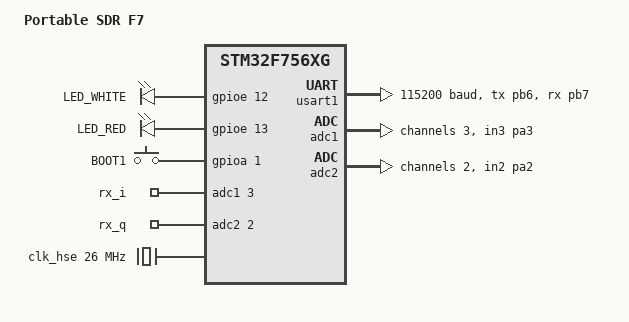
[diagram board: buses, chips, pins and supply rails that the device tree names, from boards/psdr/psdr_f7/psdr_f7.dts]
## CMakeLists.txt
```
cmake_minimum_required(VERSION 3.20.0)

list(APPEND BOARD_ROOT ${CMAKE_CURRENT_SOURCE_DIR})

find_package(Zephyr)
project(psdr_f7)

target_sources(app PRIVATE
	src/main.c
	src/dsp.c
)
```

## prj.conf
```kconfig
CONFIG_GPIO=y
CONFIG_ADC=y

CONFIG_PRINTK=y
CONFIG_BOOT_BANNER=y

# DSP thread needs a usable stack and the float unit
CONFIG_MAIN_STACK_SIZE=8192
CONFIG_FPU=y
CONFIG_CBPRINTF_FP_SUPPORT=y

# CMSIS-DSP: forward/inverse FFT, complex magnitude, sqrt/sin/cos
CONFIG_CMSIS_DSP=y
CONFIG_CMSIS_DSP_TRANSFORM=y
CONFIG_CMSIS_DSP_COMPLEXMATH=y
CONFIG_CMSIS_DSP_FASTMATH=y
```

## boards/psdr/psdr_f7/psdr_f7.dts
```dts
/*
 * Portable SDR F7 — Michael R. Colton design, STM32F756VGTx, LQFP100.
 * HSE 26 MHz on PH0/PH1, PLL → SYSCLK 216 MHz.
 *
 * Pin labels follow the original Hardware/STM32F756_Config.ioc.
 * Phase 1 brings up: console UART + status LEDs. Display, ADC, DAC,
 * I2C, SPI, timers all come later.
 */

/dts-v1/;
#include <st/f7/stm32f756Xg.dtsi>
#include <st/f7/stm32f756vgtx-pinctrl.dtsi>
#include <zephyr/dt-bindings/adc/adc.h>
#include <zephyr/dt-bindings/input/input-event-codes.h>

/ {
	model = "Portable SDR F7";
	compatible = "psdr,psdr-f7";

	chosen {
		zephyr,console = &usart1;
		zephyr,shell-uart = &usart1;
		zephyr,sram = &sram0;
		zephyr,flash = &flash0;
		zephyr,dtcm = &dtcm;
	};

	leds: leds {
		compatible = "gpio-leds";

		white_led: led_white {
			gpios = <&gpioe 12 GPIO_ACTIVE_HIGH>;
			label = "LED_WHITE";
		};

		red_led: led_red {
			gpios = <&gpioe 13 GPIO_ACTIVE_HIGH>;
			label = "LED_RED";
		};
	};

	gpio_keys {
		compatible = "gpio-keys";

		boot1_pin: boot1 {
			gpios = <&gpioa 1 GPIO_ACTIVE_HIGH>;
			label = "BOOT1";
			zephyr,code = <INPUT_KEY_0>;
		};
	};

	aliases {
		led0 = &white_led;
		led1 = &red_led;
		sw0 = &boot1_pin;
	};

	/*
	 * App-facing handle on the RX I/Q channels. Refer to these via
	 * ADC_DT_SPEC_GET_BY_IDX(DT_PATH(zephyr_user), 0) for I and 1 for Q.
	 */
	zephyr,user {
		io-channels = <&adc1 3>, <&adc2 2>;
		io-channel-names = "rx_i", "rx_q";
	};
};

&clk_hse {
	clock-frequency = <DT_FREQ_M(26)>;
	status = "okay";
};

&pll {
	div-m = <13>;
	mul-n = <216>;
	div-p = <2>;
	div-q = <9>;
	clocks = <&clk_hse>;
	status = "okay";
};

&rcc {
	clocks = <&pll>;
	clock-frequency = <DT_FREQ_M(216)>;
	ahb-prescaler = <1>;
	apb1-prescaler = <4>;
	apb2-prescaler = <2>;
};

&usart1 {
	pinctrl-0 = <&usart1_tx_pb6 &usart1_rx_pb7>;
	pinctrl-names = "default";
	current-speed = <115200>;
	status = "okay";
};

/*
 * RX I/Q: Tayloe detector outputs land on PA3 (I) and PA2 (Q).
 * Hardware-correct mapping is ADC1_IN3 + ADC2_IN2. The original
 * firmware used ADC3 for Q which is a silent bug — PA2 is not
 * routed to ADC3 on the F756.
 */
&adc1 {
	pinctrl-0 = <&adc1_in3_pa3>;
	pinctrl-names = "default";
	st,adc-prescaler = <4>;
	status = "okay";
	#address-cells = <1>;
	#size-cells = <0>;

	channel@3 {
		reg = <3>;
		zephyr,gain = "ADC_GAIN_1";
		zephyr,reference = "ADC_REF_INTERNAL";
		zephyr,acquisition-time = <ADC_ACQ_TIME(ADC_ACQ_TIME_TICKS, 15)>;
		zephyr,resolution = <12>;
	};
};

&adc2 {
	pinctrl-0 = <&adc2_in2_pa2>;
	pinctrl-names = "default";
	st,adc-prescaler = <4>;
	status = "okay";
	#address-cells = <1>;
	#size-cells = <0>;

	channel@2 {
		reg = <2>;
		zephyr,gain = "ADC_GAIN_1";
		zephyr,reference = "ADC_REF_INTERNAL";
		zephyr,acquisition-time = <ADC_ACQ_TIME(ADC_ACQ_TIME_TICKS, 15)>;
		zephyr,resolution = <12>;
	};
};
```

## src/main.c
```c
/*
 * PSDR-F7 Phase 2 / Tier 1: free-running I/Q sampler with UART telemetry.
 *
 * Reads ADC1 (RX_I, PA3) and ADC2 (RX_Q, PA2) as fast as the Zephyr
 * async ADC API will let us, accumulates a windowed RMS on each
 * channel, prints a one-line telemetry summary every 500 ms.
 *
 * No DMA, no hardware timer trigger yet — this is just to prove the
 * channels are alive and the maths is sane. Hook a signal generator
 * to RX_I or RX_Q and you should see RMS track its amplitude.
 */

#include <math.h>
#include <stdint.h>

#include <zephyr/kernel.h>
#include <zephyr/drivers/adc.h>
#include <zephyr/drivers/gpio.h>

#include "dsp.h"

#define LED0_NODE DT_ALIAS(led0)
static const struct gpio_dt_spec led0 = GPIO_DT_SPEC_GET(LED0_NODE, gpios);

#define ZUSER DT_PATH(zephyr_user)

static const struct adc_dt_spec rx_i = ADC_DT_SPEC_GET_BY_IDX(ZUSER, 0);
static const struct adc_dt_spec rx_q = ADC_DT_SPEC_GET_BY_IDX(ZUSER, 1);

/* Centre count for 12-bit ADC reading 0..3.3V referenced to ~VCC/2. */
#define ADC_MID 2048

/* Telemetry window — at e.g. 50 kSPS this is 25 ksamples per print. */
#define TELEMETRY_PERIOD_MS 500

struct chan_stats {
	uint64_t sumsq;	/* signed-sample squared, accumulated */
	int32_t peak;	/* max |signed sample| within window */
	uint32_t count;	/* samples in this window */
};

static void chan_reset(struct chan_stats *s)
{
	s->sumsq = 0;
	s->peak = 0;
	s->count = 0;
}

static inline void chan_push(struct chan_stats *s, int32_t signed_sample)
{
	int32_t a = signed_sample < 0 ? -signed_sample : signed_sample;
	if (a > s->peak) {
		s->peak = a;
	}
	s->sumsq += (uint64_t)((int64_t)signed_sample * signed_sample);
	s->count++;
}

static float chan_rms(const struct chan_stats *s)
{
	if (s->count == 0) {
		return 0.0f;
	}
	return sqrtf((float)s->sumsq / (float)s->count);
}

static int read_one(const struct adc_dt_spec *spec, int16_t *raw)
{
	struct adc_sequence seq = {
		.buffer = raw,
		.buffer_size = sizeof(*raw),
		.resolution = spec->resolution,
		.channels = BIT(spec->channel_id),
	};

	return adc_read(spec->dev, &seq);
}

int main(void)
{
	int err;

	if (!gpio_is_ready_dt(&led0)) {
		printk("led0 not ready\n");
		return 0;
	}
	gpio_pin_configure_dt(&led0, GPIO_OUTPUT_INACTIVE);

	if (!adc_is_ready_dt(&rx_i) || !adc_is_ready_dt(&rx_q)) {
		printk("adc not ready (i=%d q=%d)\n",
		       adc_is_ready_dt(&rx_i), adc_is_ready_dt(&rx_q));
		return 0;
	}

	err = adc_channel_setup_dt(&rx_i);
	if (err) {
		printk("adc_i setup failed: %d\n", err);
		return 0;
	}
	err = adc_channel_setup_dt(&rx_q);
	if (err) {
		printk("adc_q setup failed: %d\n", err);
		return 0;
	}

	printk("PSDR-F7 Phase 2/3 — free-running I/Q sampler + DSP self-test\n");
	printk("RX_I = ADC1 ch%u (PA3), RX_Q = ADC2 ch%u (PA2)\n",
	       rx_i.channel_id, rx_q.channel_id);
	printk("sysclk = %u Hz, telemetry every %u ms\n",
	       sys_clock_hw_cycles_per_sec(), TELEMETRY_PERIOD_MS);

	psdr_dsp_init();
	psdr_dsp_set_filter(40, PSDR_SIDEBAND_USB, 8);

	uint32_t t0 = k_cycle_get_32();
	float self_test_rms = psdr_dsp_self_test();
	uint32_t dt_cyc = k_cycle_get_32() - t0;
	uint32_t dt_us = (uint32_t)k_cyc_to_us_floor64(dt_cyc);
	printk("DSP self-test: impulse->iFFT RMS=%.4f (took %u us)\n",
	       (double)self_test_rms, dt_us);

	struct chan_stats si, sq;
	chan_reset(&si);
	chan_reset(&sq);

	int64_t window_start = k_uptime_get();
	uint32_t adc_err = 0;

	while (1) {
		int16_t raw_i = 0, raw_q = 0;

		err = read_one(&rx_i, &raw_i);
		if (err) {
			adc_err++;
		} else {
			chan_push(&si, (int32_t)raw_i - ADC_MID);
		}

		err = read_one(&rx_q, &raw_q);
		if (err) {
			adc_err++;
		} else {
			chan_push(&sq, (int32_t)raw_q - ADC_MID);
		}

		int64_t now = k_uptime_get();
		if (now - window_start >= TELEMETRY_PERIOD_MS) {
			uint32_t elapsed_ms = (uint32_t)(now - window_start);
			uint32_t rate_hz = elapsed_ms ?
				(uint32_t)((uint64_t)si.count * 1000U / elapsed_ms) : 0;

			printk("[%lld] rate=%uHz  I rms=%.1f peak=%d  Q rms=%.1f peak=%d  err=%u\n",
			       now, rate_hz,
			       (double)chan_rms(&si), si.peak,
			       (double)chan_rms(&sq), sq.peak,
			       adc_err);

			gpio_pin_toggle_dt(&led0);
			chan_reset(&si);
			chan_reset(&sq);
			window_start = now;
		}
	}

	return 0;
}
```

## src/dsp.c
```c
/*
 * Port of the original PSDR DSP routines onto CMSIS-DSP + Zephyr.
 *
 * Functions kept in 1:1 correspondence with the original main.c so
 * that the numerical behaviour stays comparable. Bug fixes are
 * called out inline.
 */

#include "dsp.h"

#include <arm_math.h>

static float fft_filter_coef[PSDR_FFT_BUFLEN];
static float filter_temp[PSDR_FFT_BUFLEN];

void psdr_dsp_init(void)
{
	for (unsigned int i = 0; i < PSDR_FFT_BUFLEN; i++) {
		fft_filter_coef[i] = 0.0f;
		filter_temp[i] = 0.0f;
	}
}

void psdr_dsp_set_filter(int bandwidth, enum psdr_sideband sb, int offset)
{
	const int N = (int)PSDR_FFT_BUFLEN;

	for (int i = 0; i < N; i++) {
		int v = 0;
		switch (sb) {
		case PSDR_SIDEBAND_LSB:
			if ((i > N - (offset + bandwidth)) && (i < N - offset)) {
				v = 1;
			}
			break;
		case PSDR_SIDEBAND_USB:
			if ((i > offset) && (i < offset + bandwidth)) {
				v = 1;
			}
			break;
		case PSDR_SIDEBAND_AM:
			if (((i > N - (offset + bandwidth)) && (i < N - offset))
			    || ((i > offset) && (i < offset + bandwidth))) {
				v = 1;
			}
			break;
		}
		fft_filter_coef[i] = (float)v;
	}
	fft_filter_coef[PSDR_FFT_SIZE] = 0.0f;
	fft_filter_coef[PSDR_FFT_BUFLEN - 1] = 0.0f;
}

void psdr_dsp_apply_filter(float *samples, int shift)
{
	const int N = (int)PSDR_FFT_SIZE;

	/* Real-scalar multiply: filter_temp[2i..] = samples[2i..] * coef[i]
	 * fft_filter_coef is a real mask (0.0 or 1.0 per bin) written by
	 * psdr_dsp_set_filter with stride 1, NOT interleaved complex.
	 * Reading coef[i*2+1] as 'ci' was wrong — it pulled a mask value
	 * for a neighbouring bin and corrupted both output components.
	 * Applying the real-mask convention also eliminates the imaginary-part
	 * sign error noted in the earlier BUG-PORT comment (ci was never a
	 * genuine imaginary coefficient). */
	for (int i = 0; i < N; i++) {
		float sr = samples[i * 2];
		float si = samples[i * 2 + 1];
		float cr = fft_filter_coef[i * 2];

		filter_temp[i * 2]     = sr * cr;
		filter_temp[i * 2 + 1] = si * cr;
	}

	const int B = (int)PSDR_FFT_BUFLEN;
	for (int i = 0; i < B; i++) {
		int src = i + 2 * shift;
		if (src < 0 || src >= B) {
			samples[i] = 0.0f;
		} else {
			samples[i] = filter_temp[src];
		}
	}
}

float psdr_dsp_rms(const float *samples, int length)
{
	if (length <= 0) {
		return 0.0f;
	}

	float acc = 0.0f;
	for (int i = 0; i < length; i++) {
		acc += samples[i] * samples[i];
	}
	acc /= (float)length;

	float result;
	arm_sqrt_f32(acc, &result);
	return result;
}

void psdr_dsp_zero_with_overlap(float *bank, const float *overlap,
				int filter_kernel_len)
{
	const int B = (int)PSDR_FFT_BUFLEN;
	int copy = filter_kernel_len * 2;

	if (copy < 0) {
		copy = 0;
	}
	if (copy > B) {
		copy = B;
	}
	for (int i = 0; i < copy; i++) {
		bank[i] = overlap[i];
	}
	for (int i = copy; i < B; i++) {
		bank[i] = 0.0f;
	}
}

void psdr_dsp_fft_impulse(float *samples, int bin)
{
	for (unsigned int i = 0; i < PSDR_FFT_BUFLEN; i++) {
		samples[i] = 0.0f;
	}
	if (bin < 0 || (unsigned int)bin >= PSDR_FFT_SIZE) {
		return;
	}
	samples[bin * 2]     = 0.9f;
	samples[bin * 2 + 1] = 0.9f;
}

void psdr_dsp_process(float *bank, int if_shift, enum psdr_sideband sb,
		      int am_demod)
{
	arm_cfft_radix4_instance_f32 fft;

	arm_cfft_radix4_init_f32(&fft, PSDR_FFT_SIZE, 0, 1);
	arm_cfft_radix4_f32(&fft, bank);

	psdr_dsp_apply_filter(bank, if_shift);
	(void)sb; /* sideband is currently encoded in the filter mask */

	arm_cfft_radix4_init_f32(&fft, PSDR_FFT_SIZE, 1, 1);
	arm_cfft_radix4_f32(&fft, bank);

	if (am_demod) {
		float mag[PSDR_FFT_SIZE];
		arm_cmplx_mag_f32(bank, mag, PSDR_FFT_SIZE);
		for (unsigned int i = 0; i < PSDR_FFT_SIZE; i++) {
			bank[i * 2]     = mag[i];
			bank[i * 2 + 1] = mag[i];
		}
	}
}

float psdr_dsp_self_test(void)
{
	static float scratch[PSDR_FFT_BUFLEN];
	arm_cfft_radix4_instance_f32 fft;

	/* Frequency-domain impulse in bin 10, then inverse FFT.
	 * The time-domain output is a complex tone whose RMS should be
	 * a deterministic constant for a given CMSIS-DSP build. */
	psdr_dsp_fft_impulse(scratch, 10);

	arm_cfft_radix4_init_f32(&fft, PSDR_FFT_SIZE, 1, 1);
	arm_cfft_radix4_f32(&fft, scratch);

	return psdr_dsp_rms(scratch, (int)PSDR_FFT_BUFLEN);
}
```

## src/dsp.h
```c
/*
 * Platform-agnostic DSP primitives ported from the original PSDR
 * Source/src/main.c (Michael R. Colton). The math is unchanged; only
 * the buffer layout and globals were lifted into explicit arguments.
 *
 * Complex buffers are CMSIS-DSP convention: interleaved float32
 * pairs [re, im, re, im, ...], length 2 * FFT_SIZE.
 */

#ifndef PSDR_DSP_H_
#define PSDR_DSP_H_

#include <stdint.h>

#define PSDR_FFT_SIZE     256u
#define PSDR_FFT_BUFLEN   (2u * PSDR_FFT_SIZE)
#define PSDR_OVERLAP_MAX  200u

enum psdr_sideband {
	PSDR_SIDEBAND_LSB = 0,
	PSDR_SIDEBAND_USB = 1,
	PSDR_SIDEBAND_AM  = 2,
};

void psdr_dsp_init(void);

/* Build a brick-wall filter mask in the frequency domain. */
void psdr_dsp_set_filter(int bandwidth, enum psdr_sideband sb, int offset);

/* In-place complex multiply samples[] by the current filter mask. */
void psdr_dsp_apply_filter(float *samples, int shift);

/* Sum-of-squares RMS over `length` floats. */
float psdr_dsp_rms(const float *samples, int length);

/* Zero a sample bank and copy the saved overlap region back in. */
void psdr_dsp_zero_with_overlap(float *bank, const float *overlap,
				int filter_kernel_len);

/* Inject a synthetic frequency-domain impulse — bin set to (0.9, 0.9). */
void psdr_dsp_fft_impulse(float *samples, int bin);

/* Run forward FFT → filter → inverse FFT → optional AM magnitude. */
void psdr_dsp_process(float *bank, int if_shift, enum psdr_sideband sb,
		      int am_demod);

/* Convenience: roundtrip an impulse and return the time-domain RMS.
 * Used as a boot-time self-test. */
float psdr_dsp_self_test(void);

#endif /* PSDR_DSP_H_ */
```
